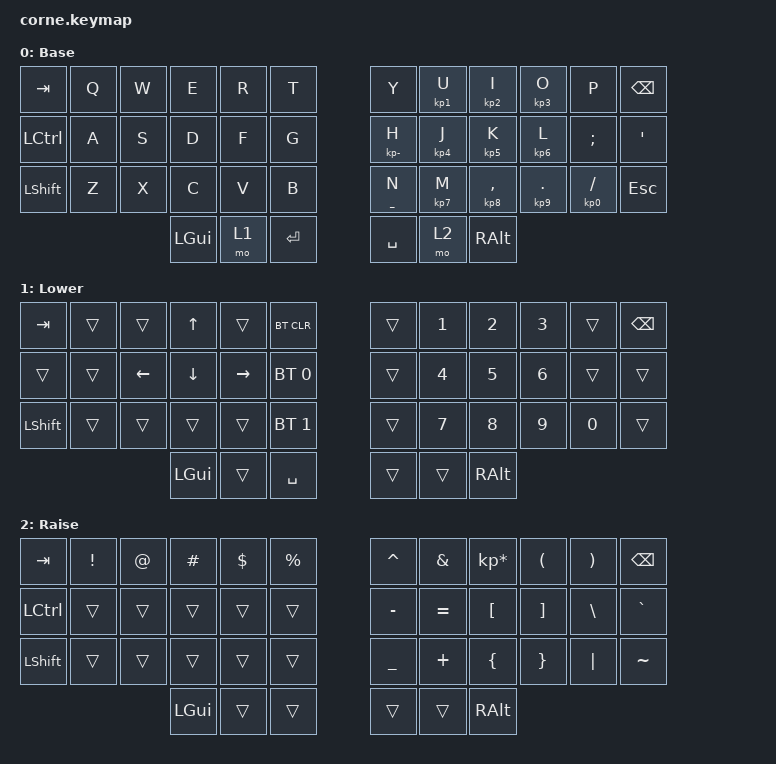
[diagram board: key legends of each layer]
/*
 * Copyright (c) 2020 The ZMK Contributors
 *
 * SPDX-License-Identifier: MIT
 */

#include <behaviors.dtsi>
#include <dt-bindings/zmk/bt.h>
#include <dt-bindings/zmk/keys.h>

/ {
    keymap {
        compatible = "zmk,keymap";

        default_layer {
            // -----------------------------------------------------------------------------------------
            // |  TAB |  Q  |  W  |  E  |  R  |  T  |   |  Y  |  U   |  I  |  O  |  P  | BKSP |
            // | CTRL |  A  |  S  |  D  |  F  |  G  |   |  H  |  J   |  K  |  L  |  ;  |  '   |
            // | SHFT |  Z  |  X  |  C  |  V  |  B  |   |  N  |  M   |  ,  |  .  |  /  | ESC  |
            //                    | GUI | LWR | SPC |   | ENT | RSE  | ALT |

            label = "Base";
            bindings = <
&kp TAB    &kp Q  &kp W  &kp E     &kp R  &kp T        &kp Y             &mt KP_NUMBER_1 U  &mt KP_NUMBER_2 I      &mt KP_NUMBER_3 O       &kp P                  &kp BSPC
&kp LCTRL  &kp A  &kp S  &kp D     &kp F  &kp G        &mt KP_MINUS H    &mt KP_N4 J        &mt KP_NUMBER_5 K      &mt KP_NUMBER_6 L       &kp SEMI               &kp SQT
&kp LSHFT  &kp Z  &kp X  &kp C     &kp V  &kp B        &mt UNDERSCORE N  &mt KP_NUMBER_7 M  &mt KP_NUMBER_8 COMMA  &mt KP_NUMBER_9 PERIOD  &mt KP_NUMBER_0 SLASH  &kp ESC
                         &kp LGUI  &mo 1  &kp ENTER    &kp SPACE         &mo 2              &kp RALT
            >;
        };

        lower_layer {
            // -----------------------------------------------------------------------------------------
            // |  TAB |  1  |  2  |  3  |  4  |  5  |   |  6  |  7  |  8  |  9  |  0  | BKSP |
            // | BTCLR| BT1 | BT2 | BT3 | BT4 | BT5 |   | LFT | DWN |  UP | RGT |     |      |
            // | SHFT |     |     |     |     |     |   |     |     |     |     |     |      |
            //                    | GUI |     | SPC |   | ENT |     | ALT |

            label = "Lower";
            bindings = <
&kp TAB    &trans  &trans          &kp UP_ARROW    &trans           &bt BT_CLR      &trans  &kp N1  &kp N2    &kp N3  &trans  &kp BSPC
&trans     &trans  &kp LEFT_ARROW  &kp DOWN_ARROW  &kp RIGHT_ARROW  &bt BT_SEL 0    &trans  &kp N4  &kp N5    &kp N6  &trans  &trans
&kp LSHFT  &trans  &trans          &trans          &trans           &bt BT_SEL 1    &trans  &kp N7  &kp N8    &kp N9  &kp N0  &trans
                                   &kp LGUI        &trans           &kp SPACE       &trans  &trans  &kp RALT
            >;
        };

        raise_layer {
            // -----------------------------------------------------------------------------------------
            // |  TAB |  !  |  @  |  #  |  $  |  %  |   |  ^  |  &  |  *  |  (  |  )  | BKSP |
            // | CTRL |     |     |     |     |     |   |  -  |  =  |  [  |  ]  |  \  |  `   |
            // | SHFT |     |     |     |     |     |   |  _  |  +  |  {  |  }  | "|" |  ~   |
            //                    | GUI |     | SPC |   | ENT |     | ALT |

            label = "Raise";
            bindings = <
&kp TAB    &kp EXCL  &kp AT  &kp HASH  &kp DLLR  &kp PRCNT    &kp CARET  &kp AMPS   &kp KP_MULTIPLY  &kp LPAR  &kp RPAR  &kp BSPC
&kp LCTRL  &trans    &trans  &trans    &trans    &trans       &kp MINUS  &kp EQUAL  &kp LBKT         &kp RBKT  &kp BSLH  &kp GRAVE
&kp LSHFT  &trans    &trans  &trans    &trans    &trans       &kp UNDER  &kp PLUS   &kp LBRC         &kp RBRC  &kp PIPE  &kp TILDE
                             &kp LGUI  &trans    &trans       &trans     &trans     &kp RALT
            >;
        };
    };
};
&nice_view_spi {
    cs-gpios = <&pro_micro 0 GPIO_ACTIVE_HIGH>;
};
